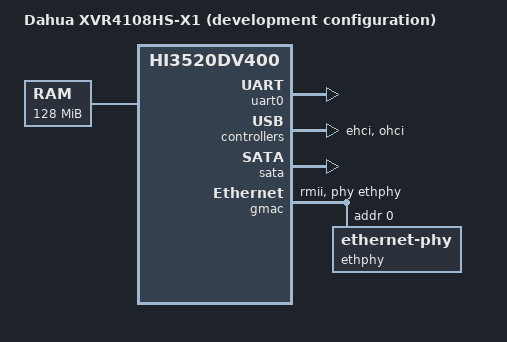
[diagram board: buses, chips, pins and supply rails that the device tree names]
// SPDX-License-Identifier: (GPL-2.0-only OR BSD-2-Clause)
/dts-v1/;
#include "hi3520dv400.dtsi"

/ {
	model = "Dahua XVR4108HS-X1 (development configuration)";
	compatible = "dahua,xvr4108hs-x1", "hisilicon,hi3520dv400";

	aliases {
		serial0 = &uart0;
		ethernet0 = &gmac;
	};

	chosen {
		stdout-path = "serial0:115200n8";
	};

	/* Deliberate bring-up limit; physical RAM has not been measured.
	 * The stock DT says 1 GiB, but its bootloader overrides that at boot.
	 */
	memory@80000000 {
		device_type = "memory";
		reg = <0x80000000 0x08000000>;
	};
};

&uart0 {
	status = "okay";
};

&ehci {
	status = "okay";
};

&ohci {
	status = "okay";
};

&sata {
	status = "okay";
	hisilicon,ports = <1>;
};

&gmac {
	status = "okay";
	phy-mode = "rmii";
	phy-handle = <&ethphy>;

	ethphy: ethernet-phy@0 {
		reg = <0>;
	};
};
